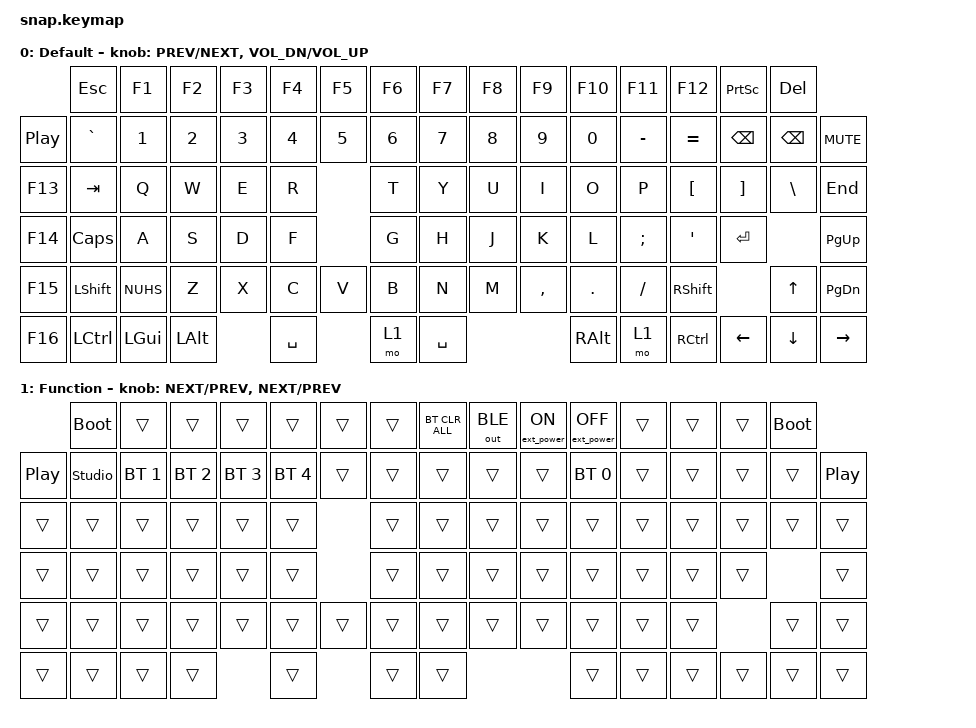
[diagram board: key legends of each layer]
/*
 * Copyright (c) 2022 The ZMK Contributors
 *
 * SPDX-License-Identifier: MIT
 */

#include <behaviors.dtsi>
#include <dt-bindings/zmk/bt.h>
#include <dt-bindings/zmk/ext_power.h>
#include <dt-bindings/zmk/keys.h>
#include <dt-bindings/zmk/outputs.h>

/ {
    sensors: sensors {
        compatible = "zmk,keymap-sensors";
        sensors = <&left_encoder &right_encoder>;
        triggers-per-rotation = <20>;
    };

    behaviors {
        encoder: encoder {
            compatible = "zmk,behavior-sensor-rotate";
            label = "ENCODER";
            #sensor-binding-cells = <0>;
            bindings = <&kp C_VOLUME_UP>, <&kp C_VOLUME_DOWN>;
        };
    };

    keymap {
        compatible = "zmk,keymap";

        default_layer {
            display-name = "Default";
            sensor-bindings = <&inc_dec_kp C_PREV C_NEXT &inc_dec_kp C_VOL_DN C_VOL_UP>;
            bindings = <
          &kp ESC    &kp F1    &kp F2    &kp F3  &kp F4     &kp F5  &kp F6  &kp F7     &kp F8  &kp F9     &kp F10   &kp F11    &kp F12    &kp PRINTSCREEN  &kp DELETE
&kp C_PP  &kp GRAVE  &kp N1    &kp N2    &kp N3  &kp N4     &kp N5  &kp N6  &kp N7     &kp N8  &kp N9     &kp N0    &kp MINUS  &kp EQUAL  &kp BACKSPACE    &kp BACKSPACE  &kp C_MUTE
&kp F13   &kp TAB    &kp Q     &kp W     &kp E   &kp R              &kp T   &kp Y      &kp U   &kp I      &kp O     &kp P      &kp LBKT   &kp RBKT         &kp BSLH       &kp END
&kp F14   &kp CLCK   &kp A     &kp S     &kp D   &kp F              &kp G   &kp H      &kp J   &kp K      &kp L     &kp SEMI   &kp SQT    &kp RET                         &kp PG_UP
&kp F15   &kp LSHFT  &kp NUHS  &kp Z     &kp X   &kp C      &kp V   &kp B   &kp N      &kp M   &kp COMMA  &kp DOT   &kp FSLH   &kp RSHFT                   &kp UP         &kp PG_DN
&kp F16   &kp LCTRL  &kp LGUI  &kp LALT          &kp SPACE          &mo 1   &kp SPACE                     &kp RALT  &mo 1      &kp RCTRL  &kp LEFT         &kp DOWN       &kp RIGHT
            >;
        };

        function_layer {
            display-name = "Function";
            sensor-bindings = <&inc_dec_kp C_NEXT C_PREV &inc_dec_kp C_NEXT C_PREV>;
            bindings = <
          &bootloader     &trans        &trans        &trans        &trans        &trans  &trans  &bt BT_CLR_ALL  &out OUT_BLE  &ext_power EP_ON  &ext_power EP_OFF  &trans  &trans  &trans  &bootloader
&kp C_PP  &studio_unlock  &bt BT_SEL 1  &bt BT_SEL 2  &bt BT_SEL 3  &bt BT_SEL 4  &trans  &trans  &trans          &trans        &trans            &bt BT_SEL 0       &trans  &trans  &trans  &trans       &kp C_PP
&trans    &trans          &trans        &trans        &trans        &trans                &trans  &trans          &trans        &trans            &trans             &trans  &trans  &trans  &trans       &trans
&trans    &trans          &trans        &trans        &trans        &trans                &trans  &trans          &trans        &trans            &trans             &trans  &trans  &trans               &trans
&trans    &trans          &trans        &trans        &trans        &trans        &trans  &trans  &trans          &trans        &trans            &trans             &trans  &trans          &trans       &trans
&trans    &trans          &trans        &trans                      &trans                &trans  &trans                                          &trans             &trans  &trans  &trans  &trans       &trans
            >;
        };
    };
};
